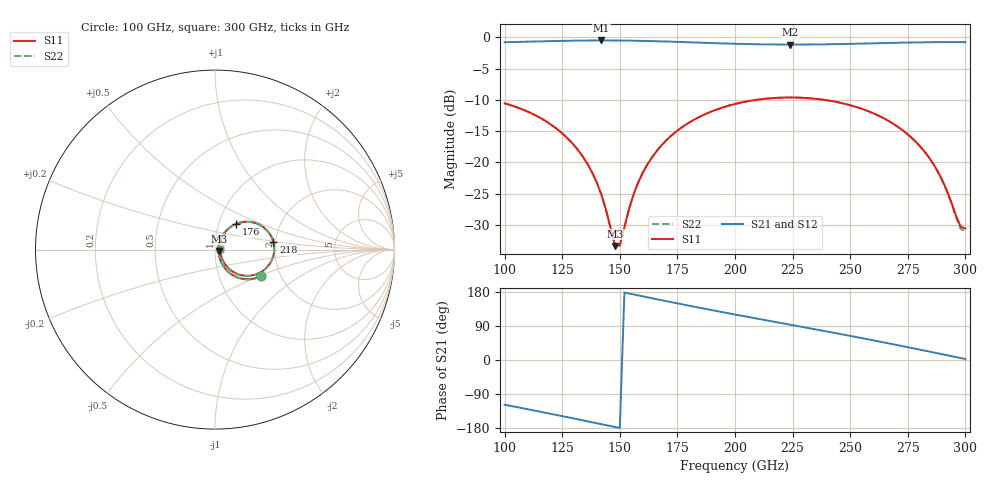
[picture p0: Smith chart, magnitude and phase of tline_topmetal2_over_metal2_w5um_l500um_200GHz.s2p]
#  GHZ S DB R 50
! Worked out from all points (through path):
!   101 points, 100 GHz to 300 GHz, reference 50 ohm
!   highest |S21| = -0.51 dB at 142 GHz (marker M1); lowest = -1.2 dB at 224 GHz (marker M2)
!   group delay of S21, straight-line fit = 3.29 ps
!   lowest |S11| = -33.3 dB at 148 GHz (marker M3), VSWR 1.04, Z = 52.1 - j0.731 ohm
!   |S11| at or under -10 dB: start of sweep to 209.3 GHz; 238.6 GHz to end of sweep
!   |S22| runs from -33.4 to -9.6 dB; largest |S21 - S12| = 1.1e-14
!   S11 on the Smith chart (normalised r, x): 100 GHz: 1.59, -0.51; 176 GHz: 1.21, +0.36; 218 GHz: 1.95, +0.19; 300 GHz: 1.06, +0.01
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100  -10.56 -29.8  -0.79 -118.1  -0.79 -118.1  -10.56 -29.9
120  -13.92 -50.7  -0.61 -142.0  -0.61 -142.0  -13.92 -50.9
134  -19.10 -62.5  -0.53 -159.3  -0.53 -159.3  -19.09 -62.8
142  -25.15 -61.1  -0.51 -169.4  -0.51 -169.4  -25.15 -61.5
148  -33.33 -19.0  -0.52 -177.0  -0.52 -177.0  -33.38 -19.5
150  -33.23 18.5  -0.52 -179.5  -0.52 -179.5  -33.29 18.2
154  -27.45 54.1  -0.54 175.5  -0.54 175.5  -27.48 54.0
158  -23.19 60.9  -0.56 170.5  -0.56 170.5  -23.21 60.7
162  -20.30 61.0  -0.60 165.4  -0.60 165.4  -20.31 60.9
168  -17.30 57.5  -0.65 158.0  -0.65 158.0  -17.31 57.4
176  -14.64 50.6  -0.75 148.2  -0.75 148.2  -14.64 50.4
200  -10.66 26.2  -1.04 120.1  -1.04 120.1  -10.66 25.9
218  -9.68 7.5  -1.15 99.8  -1.15 99.8  -9.69 7.2
224  -9.62 1.3  -1.16 93.1  -1.16 93.1  -9.63 0.9
234  -9.80 -9.1  -1.15 81.9  -1.15 81.9  -9.80 -9.5
252  -11.07 -27.6  -1.04 61.3  -1.04 61.3  -11.07 -28.1
268  -13.66 -43.6  -0.90 42.3  -0.90 42.3  -13.67 -44.2
276  -15.84 -50.5  -0.84 32.5  -0.84 32.5  -15.85 -51.3
284  -19.10 -55.1  -0.79 22.6  -0.79 22.6  -19.13 -56.0
290  -22.87 -53.6  -0.77 15.1  -0.77 15.1  -22.93 -54.8
298  -30.30 -14.1  -0.77 5.1  -0.77 5.1  -30.65 -15.0
300  -30.55 10.9  -0.78 2.5  -0.78 2.5  -30.90 11.2
